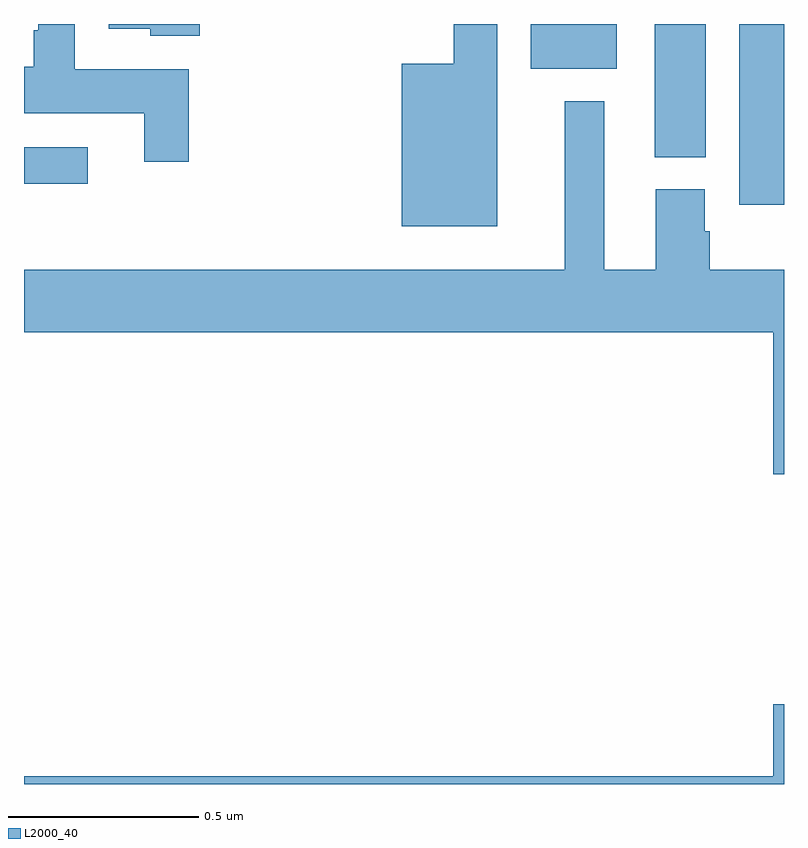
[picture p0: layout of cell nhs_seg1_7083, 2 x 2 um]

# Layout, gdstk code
import gdstk
lib = gdstk.Library(unit=1e-6, precision=1e-09)
def R(c, l, rs):  # rectangles x0, y0, x1, y1
    for r in rs: c.add(gdstk.rectangle(r[:2], r[2:], *l))
def P(c, l, *ps):  # polygons
    for p in ps: c.add(gdstk.Polygon(p, *l))
L2000_40 = (2000, 40)

nhs_seg1_7083 = lib.new_cell('nhs_seg1_7083')
R(nhs_seg1_7083, L2000_40, [(200.882,562.724,201,563.199), (199,562.779,199.168,562.875), (200.66,562.849,200.794,563.199), (200.333,563.081,200.56,563.199)])
P(nhs_seg1_7083, L2000_40, [(199.433,563.08),(199.134,563.08),(199.134,563.199),(199.038,563.199),(199.038,563.182),(199.026,563.182),(199.026,563.086),(199,563.086),(199,562.964),(199.316,562.964),(199.316,562.836),(199.433,562.836)],
  [(200.245,563.199),(200.131,563.199),(200.131,563.095),(199.994,563.095),(199.994,562.667),(200.245,562.667)],
  [(199.463,563.199),(199.223,563.199),(199.223,563.186),(199.332,563.186),(199.332,563.168),(199.463,563.168)],
  [(201,562.552),(200.804,562.552),(200.804,562.653),(200.791,562.653),(200.791,562.764),(200.663,562.764),(200.663,562.552),(200.527,562.552),(200.527,562.996),(200.423,562.996),(200.423,562.552),(199,562.552),(199,562.388),(200.972,562.388),(200.972,562.014),(201,562.014)],
  [(201,561.409),(200.972,561.409),(200.972,561.22),(199,561.22),(199,561.199),(201,561.199)])

lib.write_gds('nhs_seg1_7083.gds')
